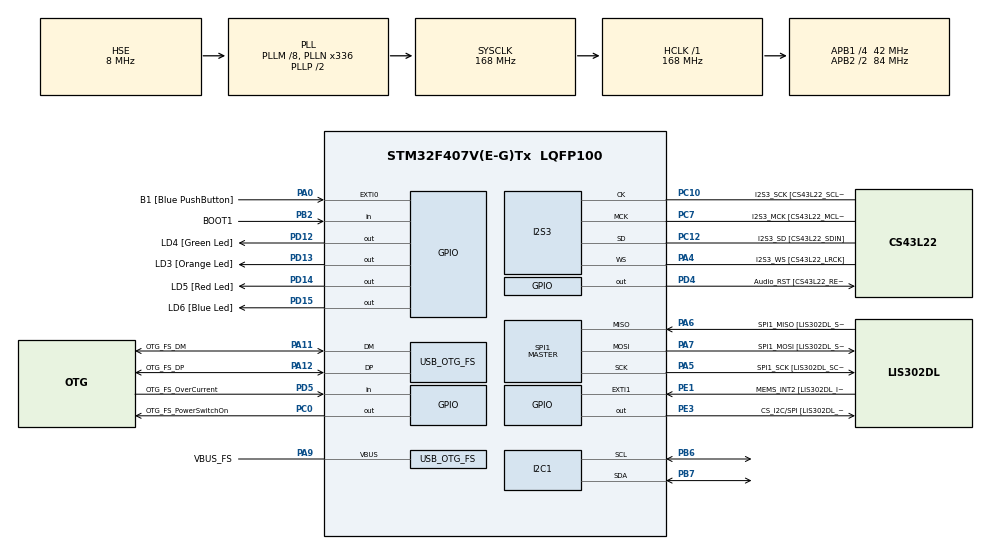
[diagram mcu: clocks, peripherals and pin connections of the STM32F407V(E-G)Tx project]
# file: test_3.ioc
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I2S3.AudioFreq-Half_Duplex_Master=I2S_AUDIOFREQ_96K
I2S3.ErrorAudioFreq=-2.34 %
I2S3.ErrorAudioFreq-Half_Duplex_Master=0.8 %
I2S3.FullDuplexMode=I2S_FULLDUPLEXMODE_DISABLE
I2S3.Instance=SPI$Index
I2S3.RealAudioFreq=93.75 KHz
I2S3.RealAudioFreq-Half_Duplex_Master=96.774 KHz
I2S3.VirtualMode=I2S_MODE_MASTER
Mcu.Family=STM32F4
Mcu.Name=STM32F407V(E-G)Tx
Mcu.Package=LQFP100
NVIC.OTG_FS_IRQn=true\:0\:0\:false\:false\:true\:true
NVIC.PriorityGroup=NVIC_PRIORITYGROUP_0
PA0-WKUP.GPIO_Label=B1 [Blue PushButton]
PA0-WKUP.GPIO_ModeDefaultEXTI=GPIO_MODE_EVT_RISING
PA0-WKUP.GPIO_PuPd=GPIO_NOPULL
PA0-WKUP.Signal=GPXTI0
PA10.GPIO_Label=OTG_FS_ID
PA10.GPIO_Mode=GPIO_MODE_AF_PP
PA10.GPIO_PuPd=GPIO_NOPULL
PA10.GPIO_Speed=GPIO_SPEED_FREQ_LOW
PA10.Signal=USB_OTG_FS_ID
PA11.GPIO_Label=OTG_FS_DM
PA11.GPIO_Mode=GPIO_MODE_AF_PP
PA11.GPIO_PuPd=GPIO_NOPULL
PA11.GPIO_Speed=GPIO_SPEED_FREQ_LOW
PA11.Mode=Device_Only
PA11.Signal=USB_OTG_FS_DM
PA12.GPIO_Label=OTG_FS_DP
PA12.GPIO_Mode=GPIO_MODE_AF_PP
PA12.GPIO_PuPd=GPIO_NOPULL
PA12.GPIO_Speed=GPIO_SPEED_FREQ_LOW
PA12.Mode=Device_Only
PA12.Signal=USB_OTG_FS_DP
PA13.GPIO_Label=SWDIO
PA13.Mode=Serial_Wire
PA13.Signal=SYS_JTMS-SWDIO
PA14.GPIO_Label=SWCLK
PA14.Mode=Serial_Wire
PA14.Signal=SYS_JTCK-SWCLK
PA4.GPIO_Label=I2S3_WS [CS43L22_LRCK]
PA4.GPIO_Mode=GPIO_MODE_AF_PP
PA4.GPIO_PuPd=GPIO_NOPULL
PA4.GPIO_Speed=GPIO_SPEED_FREQ_LOW
PA4.Mode=Half_Duplex_Master
PA4.Signal=I2S3_WS
PA5.GPIO_Label=SPI1_SCK [LIS302DL_SCL/SPC]
PA5.GPIO_Mode=GPIO_MODE_AF_PP
PA5.GPIO_PuPd=GPIO_NOPULL
PA5.GPIO_Speed=GPIO_SPEED_FREQ_LOW
PA5.Mode=Full_Duplex_Master
PA5.Signal=SPI1_SCK
PA6.GPIO_Label=SPI1_MISO [LIS302DL_SDO]
PA6.GPIO_Mode=GPIO_MODE_AF_PP
PA6.GPIO_PuPd=GPIO_NOPULL
PA6.GPIO_Speed=GPIO_SPEED_FREQ_LOW
PA6.Mode=Full_Duplex_Master
PA6.Signal=SPI1_MISO
PA7.GPIO_Label=SPI1_MOSI [LIS302DL_SDA/SDI/SDO]
PA7.GPIO_Mode=GPIO_MODE_AF_PP
PA7.GPIO_PuPd=GPIO_NOPULL
PA7.GPIO_Speed=GPIO_SPEED_FREQ_LOW
PA7.Mode=Full_Duplex_Master
PA7.Signal=SPI1_MOSI
PA9.GPIO_Label=VBUS_FS
PA9.GPIO_Mode=GPIO_MODE_INPUT
PA9.GPIO_PuPd=GPIO_NOPULL
PA9.Mode=Activate_VBUS
PA9.Signal=USB_OTG_FS_VBUS
PB10.GPIO_Label=CLK_IN [MP45DT02_CLK]
PB10.GPIO_Mode=GPIO_MODE_AF_PP
PB10.GPIO_PuPd=GPIO_NOPULL
PB10.GPIO_Speed=GPIO_SPEED_FREQ_LOW
PB10.Signal=I2S2_CK
PB2.GPIO_Label=BOOT1
PB2.GPIO_Mode=GPIO_MODE_INPUT
PB2.GPIO_PuPd=GPIO_NOPULL
PB2.Signal=GPIO_Input
PB3.GPIO_Label=SWO
PB3.Signal=SYS_JTDO-SWO
PB6.Mode=I2C
PB6.Signal=I2C1_SCL
PB7.Mode=I2C
PB7.Signal=I2C1_SDA
PC0.GPIO_Label=OTG_FS_PowerSwitchOn
PC0.GPIO_PuPd=GPIO_NOPULL
PC0.GPIO_Speed=GPIO_SPEED_FREQ_LOW
PC0.PinState=GPIO_PIN_SET
PC0.Signal=GPIO_Output
PC10.GPIO_Label=I2S3_SCK [CS43L22_SCLK]
PC10.GPIO_Mode=GPIO_MODE_AF_PP
PC10.GPIO_PuPd=GPIO_NOPULL
PC10.GPIO_Speed=GPIO_SPEED_FREQ_LOW
PC10.Mode=Half_Duplex_Master
PC10.Signal=I2S3_CK
PC12.GPIO_Label=I2S3_SD [CS43L22_SDIN]
PC12.GPIO_Mode=GPIO_MODE_AF_PP
PC12.GPIO_PuPd=GPIO_NOPULL
PC12.GPIO_Speed=GPIO_SPEED_FREQ_LOW
PC12.Mode=Half_Duplex_Master
PC12.Signal=I2S3_SD
PC14-OSC32_IN.GPIO_Label=PC14-OSC32_IN
PC14-OSC32_IN.Mode=LSE-External-Oscillator
PC14-OSC32_IN.Signal=RCC_OSC32_IN
PC15-OSC32_OUT.GPIO_Label=PC15-OSC32_OUT
PC15-OSC32_OUT.Mode=LSE-External-Oscillator
PC15-OSC32_OUT.Signal=RCC_OSC32_OUT
PC3.GPIO_Label=PDM_OUT [MP45DT02_DOUT]
PC3.GPIO_Mode=GPIO_MODE_AF_PP
PC3.GPIO_PuPd=GPIO_NOPULL
PC3.GPIO_Speed=GPIO_SPEED_FREQ_LOW
PC3.Signal=I2S2_SD
PC7.GPIO_Label=I2S3_MCK [CS43L22_MCLK]
PC7.GPIO_Mode=GPIO_MODE_AF_PP
PC7.GPIO_PuPd=GPIO_NOPULL
PC7.GPIO_Speed=GPIO_SPEED_FREQ_LOW
PC7.Mode=Master_Clock_Activated
PC7.Signal=I2S3_MCK
PD12.GPIO_Label=LD4 [Green Led]
PD12.GPIO_PuPd=GPIO_NOPULL
PD12.GPIO_Speed=GPIO_SPEED_FREQ_LOW
PD12.Signal=GPIO_Output
PD13.GPIO_Label=LD3 [Orange Led]
PD13.GPIO_PuPd=GPIO_NOPULL
PD13.GPIO_Speed=GPIO_SPEED_FREQ_LOW
PD13.Signal=GPIO_Output
PD14.GPIO_Label=LD5 [Red Led]
PD14.GPIO_PuPd=GPIO_NOPULL
PD14.GPIO_Speed=GPIO_SPEED_FREQ_LOW
PD14.Signal=GPIO_Output
PD15.GPIO_Label=LD6 [Blue Led]
PD15.GPIO_PuPd=GPIO_NOPULL
PD15.GPIO_Speed=GPIO_SPEED_FREQ_LOW
PD15.Signal=GPIO_Output
PD4.GPIO_Label=Audio_RST [CS43L22_RESET]
PD4.GPIO_PuPd=GPIO_NOPULL
PD4.GPIO_Speed=GPIO_SPEED_FREQ_LOW
PD4.Signal=GPIO_Output
PD5.GPIO_Label=OTG_FS_OverCurrent
PD5.GPIO_Mode=GPIO_MODE_INPUT
PD5.GPIO_PuPd=GPIO_NOPULL
PD5.Signal=GPIO_Input
PE1.GPIO_Label=MEMS_INT2 [LIS302DL_INT2]
PE1.GPIO_ModeDefaultEXTI=GPIO_MODE_EVT_RISING
PE1.GPIO_PuPd=GPIO_NOPULL
PE1.Signal=GPXTI1
PE3.GPIO_Label=CS_I2C/SPI [LIS302DL_CS_I2C/SPI]
PE3.GPIO_PuPd=GPIO_NOPULL
PE3.GPIO_Speed=GPIO_SPEED_FREQ_LOW
PE3.Signal=GPIO_Output
PH0-OSC_IN.GPIO_Label=PH0-OSC_IN
PH0-OSC_IN.Mode=HSE-External-Oscillator
PH0-OSC_IN.Signal=RCC_OSC_IN
PH1-OSC_OUT.GPIO_Label=PH1-OSC_OUT
PH1-OSC_OUT.Mode=HSE-External-Oscillator
PH1-OSC_OUT.Signal=RCC_OSC_OUT
ProjectManager.HeapSize=0x200
ProjectManager.StackSize=0x400
ProjectManager.TargetToolchain=TrueSTUDIO
RCC.48MHZClocksFreq_Value=48000000
RCC.AHBFreq_Value=168000000
RCC.APB1CLKDivider=RCC_HCLK_DIV4
RCC.APB1Freq_Value=42000000
RCC.APB1TimFreq_Value=84000000
RCC.APB2CLKDivider=RCC_HCLK_DIV2
RCC.APB2Freq_Value=84000000
RCC.APB2TimFreq_Value=168000000
RCC.CortexFreq_Value=168000000
RCC.HCLKFreq_Value=168000000
RCC.HSE_VALUE=8000000
RCC.HSI_VALUE=16000000
RCC.PLLM=8
RCC.PLLN=336
RCC.PLLQ=7
RCC.SYSCLKFreq_VALUE=168000000
RCC.SYSCLKSource=RCC_SYSCLKSOURCE_PLLCLK
RCC.VCOOutputFreq_Value=336000000
SPI1.BaudRatePrescaler-Full_Duplex_Master=SPI_BAUDRATEPRESCALER_2
SPI1.CalculateBaudRate-Full_Duplex_Master=42.0 MBits/s
SPI1.Direction=SPI_DIRECTION_2LINES
SPI1.Mode=SPI_MODE_MASTER
SPI1.Mode-Full_Duplex_Master=SPI_MODE_MASTER
SPI1.VirtualType=VM_MASTER
USB_DEVICE.CLASS_NAME_FS=CDC
USB_DEVICE.VirtualMode-CDC_FS=Cdc
USB_DEVICE.VirtualModeFS=Cdc_FS
USB_OTG_FS.VirtualMode=Device_Only
VP_USB_DEVICE_VS_USB_DEVICE_CDC_FS.Mode=CDC_FS
board=STM32F4DISCOVERY

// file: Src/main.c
/* USER CODE BEGIN Header */
/**
  ******************************************************************************
  * @file           : main.c
  * @brief          : Main program body
  ******************************************************************************
  * This notice applies to any and all portions of this file
  * that are not between comment pairs USER CODE BEGIN and
  * USER CODE END. Other portions of this file, whether
  * inserted by the user or by software development tools
  * are owned by their respective copyright owners.
  *
  * Copyright (c) 2018 STMicroelectronics International N.V.
  * All rights reserved.
  *
  * Redistribution and use in source and binary forms, with or without
  * modification, are permitted, provided that the following conditions are met:
  *
  * 1. Redistribution of source code must retain the above copyright notice,
  *    this list of conditions and the following disclaimer.
  * 2. Redistributions in binary form must reproduce the above copyright notice,
  *    this list of conditions and the following disclaimer in the documentation
  *    and/or other materials provided with the distribution.
  * 3. Neither the name of STMicroelectronics nor the names of other
  *    contributors to this software may be used to endorse or promote products
  *    derived from this software without specific written permission.
  * 4. This software, including modifications and/or derivative works of this
  *    software, must execute solely and exclusively on microcontroller or
  *    microprocessor devices manufactured by or for STMicroelectronics.
  * 5. Redistribution and use of this software other than as permitted under
  *    this license is void and will automatically terminate your rights under
  *    this license.
  *
  * THIS SOFTWARE IS PROVIDED BY STMICROELECTRONICS AND CONTRIBUTORS "AS IS"
  * AND ANY EXPRESS, IMPLIED OR STATUTORY WARRANTIES, INCLUDING, BUT NOT
  * LIMITED TO, THE IMPLIED WARRANTIES OF MERCHANTABILITY, FITNESS FOR A
  * PARTICULAR PURPOSE AND NON-INFRINGEMENT OF THIRD PARTY INTELLECTUAL PROPERTY
  * RIGHTS ARE DISCLAIMED TO THE FULLEST EXTENT PERMITTED BY LAW. IN NO EVENT
  * SHALL STMICROELECTRONICS OR CONTRIBUTORS BE LIABLE FOR ANY DIRECT, INDIRECT,
  * INCIDENTAL, SPECIAL, EXEMPLARY, OR CONSEQUENTIAL DAMAGES (INCLUDING, BUT NOT
  * LIMITED TO, PROCUREMENT OF SUBSTITUTE GOODS OR SERVICES; LOSS OF USE, DATA,
  * OR PROFITS; OR BUSINESS INTERRUPTION) HOWEVER CAUSED AND ON ANY THEORY OF
  * LIABILITY, WHETHER IN CONTRACT, STRICT LIABILITY, OR TORT (INCLUDING
  * NEGLIGENCE OR OTHERWISE) ARISING IN ANY WAY OUT OF THE USE OF THIS SOFTWARE,
  * EVEN IF ADVISED OF THE POSSIBILITY OF SUCH DAMAGE.
  *
  ******************************************************************************
  */
/* USER CODE END Header */

#include "main.h"
#include "usb_device.h"

I2C_HandleTypeDef hi2c1;

I2S_HandleTypeDef hi2s3;

SPI_HandleTypeDef hspi1;

void SystemClock_Config(void);
static void MX_GPIO_Init(void);
static void MX_I2S3_Init(void);
static void MX_SPI1_Init(void);
static void MX_I2C1_Init(void);

int main(void)
{

  /* MCU Configuration--------------------------------------------------------*/

  /* Reset of all peripherals, Initializes the Flash interface and the Systick. */
  HAL_Init();

  /* Configure the system clock */
  SystemClock_Config();

  /* Initialize all configured peripherals */
  MX_GPIO_Init();
  MX_I2S3_Init();
  MX_SPI1_Init();
  MX_USB_DEVICE_Init();
  MX_I2C1_Init();
  /* USER CODE BEGIN 2 */
  uint32_t Len = 50;
  char Buf[Len];
  uint8_t cnt = 0;
  uint16_t temp;
  uint8_t temp6[6];
  float temp_f1, temp_f2, rh1, rh2, rh3;
  int16_t temp_s;
  uint16_t dis_ret;
  uint8_t ret1, ret2;
  uint8_t meas_command[2] = {0x22, 0x20};

  for (int i = 0; i < Len; i++)
	  Buf[i] = 0;

  HAL_I2C_Master_Transmit(&hi2c1, 0x8A, meas_command, 2, 200);
  /* USER CODE END 2 */

  /* Infinite loop */
  /* USER CODE BEGIN WHILE */
  while (1)
  {
	  HAL_Delay(500);
	  //CDC_Receive_FS(Buf, Len);
	  //cnt++;
	  /*if(((ret1 = HAL_I2C_IsDeviceReady(&hi2c1, 0x9E, 10, 200)) != 0) || ((ret2 = HAL_I2C_IsDeviceReady(&hi2c1, 0x9A, 10, 200) != 0)))
	  {
		  sprintf(Buf,"1rdy=%d 2rdy=%d \r", ret1, ret2);
		  CDC_Transmit_FS(Buf, Len);
	  }
	  else
	  {
		  HAL_I2C_Master_Receive(&hi2c1, 0x9E, (uint8_t *)&temp, 2, 200);
		  temp_s = ((temp & 0xFF00) >> 8) + ((temp & 0x00FF) << 8);
		  temp_f1 = temp_s/256.0;
		  HAL_I2C_Master_Receive(&hi2c1, 0x9A, (uint8_t *)&temp, 2, 200);
		  temp_s = ((temp & 0xFF00) >> 8) + ((temp & 0x00FF) << 8);
		  temp_f2 = temp_s/256.0;
		  sprintf(Buf,"ARM, cnt=%u tmp1=%3.2f tmp2=%3.2f  \r", cnt++, temp_f1, temp_f2);
		  if (cnt == 10) cnt = 0;
		  CDC_Transmit_FS(Buf, Len);
	  }*/

	  /*if(((ret1 = HAL_I2C_IsDeviceReady(&hi2c1, 0x9E, 10, 200)) != 0) || ((ret2 = HAL_I2C_IsDeviceReady(&hi2c1, 0x9A, 10, 200) != 0)))
	  {
		  sprintf(Buf,"1rdy=%d 2rdy=%d \r", ret1, ret2);
		  CDC_Transmit_FS(Buf, Len);
	  }
	  else*/
	  {
		  /*HAL_I2C_Master_Receive(&hi2c1, 0x9E, (uint8_t *)&temp, 2, 200);
		  temp_s = ((temp & 0xFF00) >> 8) + ((temp & 0x00FF) << 8);
		  temp_f1 = temp_s/256.0;*/
		  HAL_I2C_Master_Receive(&hi2c1, 0x8A, temp6, 6, 200);
		  dis_ret = (((uint16_t)temp6[0])<<8) + temp6[1];
		  temp_f1 = 175.0 * dis_ret / 65535.0 - 45;
		  sprintf(Buf, "%02x %02x %02x %02x %02x %02x  temp=%04x\n", temp6[0], temp6[1], temp6[2], temp6[3], temp6[4], temp6[5], temp_s);
		  HAL_Delay(500);
		  CDC_Transmit_FS(Buf, Len);
		  dis_ret = (((uint16_t)temp6[3])<<8) + temp6[4];
		  temp_f2 = 100.0 * dis_ret / 65535.0;
		  sprintf(Buf,"ARM, cnt=%u tmp1=%3.2f tmp2=%3.2f  \r", cnt++, temp_f1, temp_f2);
		  if (cnt == 10) cnt = 0;
		  CDC_Transmit_FS(Buf, Len);
	  }

    /* USER CODE END WHILE */

  }
}

void SystemClock_Config(void)
{
  RCC_OscInitTypeDef RCC_OscInitStruct = {0};
  RCC_ClkInitTypeDef RCC_ClkInitStruct = {0};
  RCC_PeriphCLKInitTypeDef PeriphClkInitStruct = {0};

  /**Configure the main internal regulator output voltage
  */
  __HAL_RCC_PWR_CLK_ENABLE();
  __HAL_PWR_VOLTAGESCALING_CONFIG(PWR_REGULATOR_VOLTAGE_SCALE1);
  /**Initializes the CPU, AHB and APB busses clocks
  */
  RCC_OscInitStruct.OscillatorType = RCC_OSCILLATORTYPE_HSE;
  RCC_OscInitStruct.HSEState = RCC_HSE_ON;
  RCC_OscInitStruct.PLL.PLLState = RCC_PLL_ON;
  RCC_OscInitStruct.PLL.PLLSource = RCC_PLLSOURCE_HSE;
  RCC_OscInitStruct.PLL.PLLM = 8;
  RCC_OscInitStruct.PLL.PLLN = 336;
  RCC_OscInitStruct.PLL.PLLP = RCC_PLLP_DIV2;
  RCC_OscInitStruct.PLL.PLLQ = 7;
  if (HAL_RCC_OscConfig(&RCC_OscInitStruct) != HAL_OK)
  {
    Error_Handler();
  }
  /**Initializes the CPU, AHB and APB busses clocks
  */
  RCC_ClkInitStruct.ClockType = RCC_CLOCKTYPE_HCLK|RCC_CLOCKTYPE_SYSCLK
                              |RCC_CLOCKTYPE_PCLK1|RCC_CLOCKTYPE_PCLK2;
  RCC_ClkInitStruct.SYSCLKSource = RCC_SYSCLKSOURCE_PLLCLK;
  RCC_ClkInitStruct.AHBCLKDivider = RCC_SYSCLK_DIV1;
  RCC_ClkInitStruct.APB1CLKDivider = RCC_HCLK_DIV4;
  RCC_ClkInitStruct.APB2CLKDivider = RCC_HCLK_DIV2;

  if (HAL_RCC_ClockConfig(&RCC_ClkInitStruct, FLASH_LATENCY_5) != HAL_OK)
  {
    Error_Handler();
  }
  PeriphClkInitStruct.PeriphClockSelection = RCC_PERIPHCLK_I2S;
  PeriphClkInitStruct.PLLI2S.PLLI2SN = 192;
  PeriphClkInitStruct.PLLI2S.PLLI2SR = 2;
  if (HAL_RCCEx_PeriphCLKConfig(&PeriphClkInitStruct) != HAL_OK)
  {
    Error_Handler();
  }
}

static void MX_I2C1_Init(void)
{

  hi2c1.Instance = I2C1;
  hi2c1.Init.ClockSpeed = 100000;
  hi2c1.Init.DutyCycle = I2C_DUTYCYCLE_2;
  hi2c1.Init.OwnAddress1 = 0;
  hi2c1.Init.AddressingMode = I2C_ADDRESSINGMODE_7BIT;
  hi2c1.Init.DualAddressMode = I2C_DUALADDRESS_DISABLE;
  hi2c1.Init.OwnAddress2 = 0;
  hi2c1.Init.GeneralCallMode = I2C_GENERALCALL_DISABLE;
  hi2c1.Init.NoStretchMode = I2C_NOSTRETCH_DISABLE;
  if (HAL_I2C_Init(&hi2c1) != HAL_OK)
  {
    Error_Handler();
  }

}

static void MX_I2S3_Init(void)
{

  hi2s3.Instance = SPI3;
  hi2s3.Init.Mode = I2S_MODE_MASTER_TX;
  hi2s3.Init.Standard = I2S_STANDARD_PHILIPS;
  hi2s3.Init.DataFormat = I2S_DATAFORMAT_16B;
  hi2s3.Init.MCLKOutput = I2S_MCLKOUTPUT_ENABLE;
  hi2s3.Init.AudioFreq = I2S_AUDIOFREQ_96K;
  hi2s3.Init.CPOL = I2S_CPOL_LOW;
  hi2s3.Init.ClockSource = I2S_CLOCK_PLL;
  hi2s3.Init.FullDuplexMode = I2S_FULLDUPLEXMODE_DISABLE;
  if (HAL_I2S_Init(&hi2s3) != HAL_OK)
  {
    Error_Handler();
  }

}

static void MX_SPI1_Init(void)
{

  /* SPI1 parameter configuration*/
  hspi1.Instance = SPI1;
  hspi1.Init.Mode = SPI_MODE_MASTER;
  hspi1.Init.Direction = SPI_DIRECTION_2LINES;
  hspi1.Init.DataSize = SPI_DATASIZE_8BIT;
  hspi1.Init.CLKPolarity = SPI_POLARITY_LOW;
  hspi1.Init.CLKPhase = SPI_PHASE_1EDGE;
  hspi1.Init.NSS = SPI_NSS_SOFT;
  hspi1.Init.BaudRatePrescaler = SPI_BAUDRATEPRESCALER_2;
  hspi1.Init.FirstBit = SPI_FIRSTBIT_MSB;
  hspi1.Init.TIMode = SPI_TIMODE_DISABLE;
  hspi1.Init.CRCCalculation = SPI_CRCCALCULATION_DISABLE;
  hspi1.Init.CRCPolynomial = 10;
  if (HAL_SPI_Init(&hspi1) != HAL_OK)
  {
    Error_Handler();
  }

}

static void MX_GPIO_Init(void)
{
  GPIO_InitTypeDef GPIO_InitStruct = {0};

  /* GPIO Ports Clock Enable */
  __HAL_RCC_GPIOE_CLK_ENABLE();
  __HAL_RCC_GPIOC_CLK_ENABLE();
  __HAL_RCC_GPIOH_CLK_ENABLE();
  __HAL_RCC_GPIOA_CLK_ENABLE();
  __HAL_RCC_GPIOB_CLK_ENABLE();
  __HAL_RCC_GPIOD_CLK_ENABLE();

  /*Configure GPIO pin Output Level */
  HAL_GPIO_WritePin(CS_I2C_SPI_GPIO_Port, CS_I2C_SPI_Pin, GPIO_PIN_RESET);

  /*Configure GPIO pin Output Level */
  HAL_GPIO_WritePin(OTG_FS_PowerSwitchOn_GPIO_Port, OTG_FS_PowerSwitchOn_Pin, GPIO_PIN_SET);

  /*Configure GPIO pin Output Level */
  HAL_GPIO_WritePin(GPIOD, LD4_Pin|LD3_Pin|LD5_Pin|LD6_Pin
                          |Audio_RST_Pin, GPIO_PIN_RESET);

  /*Configure GPIO pin : CS_I2C_SPI_Pin */
  GPIO_InitStruct.Pin = CS_I2C_SPI_Pin;
  GPIO_InitStruct.Mode = GPIO_MODE_OUTPUT_PP;
  GPIO_InitStruct.Pull = GPIO_NOPULL;
  GPIO_InitStruct.Speed = GPIO_SPEED_FREQ_LOW;
  HAL_GPIO_Init(CS_I2C_SPI_GPIO_Port, &GPIO_InitStruct);

  /*Configure GPIO pin : OTG_FS_PowerSwitchOn_Pin */
  GPIO_InitStruct.Pin = OTG_FS_PowerSwitchOn_Pin;
  GPIO_InitStruct.Mode = GPIO_MODE_OUTPUT_PP;
  GPIO_InitStruct.Pull = GPIO_NOPULL;
  GPIO_InitStruct.Speed = GPIO_SPEED_FREQ_LOW;
  HAL_GPIO_Init(OTG_FS_PowerSwitchOn_GPIO_Port, &GPIO_InitStruct);

  /*Configure GPIO pin : PDM_OUT_Pin */
  GPIO_InitStruct.Pin = PDM_OUT_Pin;
  GPIO_InitStruct.Mode = GPIO_MODE_AF_PP;
  GPIO_InitStruct.Pull = GPIO_NOPULL;
  GPIO_InitStruct.Speed = GPIO_SPEED_FREQ_LOW;
  GPIO_InitStruct.Alternate = GPIO_AF5_SPI2;
  HAL_GPIO_Init(PDM_OUT_GPIO_Port, &GPIO_InitStruct);

  /*Configure GPIO pin : B1_Pin */
  GPIO_InitStruct.Pin = B1_Pin;
  GPIO_InitStruct.Mode = GPIO_MODE_EVT_RISING;
  GPIO_InitStruct.Pull = GPIO_NOPULL;
  HAL_GPIO_Init(B1_GPIO_Port, &GPIO_InitStruct);

  /*Configure GPIO pin : BOOT1_Pin */
  GPIO_InitStruct.Pin = BOOT1_Pin;
  GPIO_InitStruct.Mode = GPIO_MODE_INPUT;
  GPIO_InitStruct.Pull = GPIO_NOPULL;
  HAL_GPIO_Init(BOOT1_GPIO_Port, &GPIO_InitStruct);

  /*Configure GPIO pin : CLK_IN_Pin */
  GPIO_InitStruct.Pin = CLK_IN_Pin;
  GPIO_InitStruct.Mode = GPIO_MODE_AF_PP;
  GPIO_InitStruct.Pull = GPIO_NOPULL;
  GPIO_InitStruct.Speed = GPIO_SPEED_FREQ_LOW;
  GPIO_InitStruct.Alternate = GPIO_AF5_SPI2;
  HAL_GPIO_Init(CLK_IN_GPIO_Port, &GPIO_InitStruct);

  /*Configure GPIO pins : LD4_Pin LD3_Pin LD5_Pin LD6_Pin
                           Audio_RST_Pin */
  GPIO_InitStruct.Pin = LD4_Pin|LD3_Pin|LD5_Pin|LD6_Pin
                          |Audio_RST_Pin;
  GPIO_InitStruct.Mode = GPIO_MODE_OUTPUT_PP;
  GPIO_InitStruct.Pull = GPIO_NOPULL;
  GPIO_InitStruct.Speed = GPIO_SPEED_FREQ_LOW;
  HAL_GPIO_Init(GPIOD, &GPIO_InitStruct);

  /*Configure GPIO pin : OTG_FS_OverCurrent_Pin */
  GPIO_InitStruct.Pin = OTG_FS_OverCurrent_Pin;
  GPIO_InitStruct.Mode = GPIO_MODE_INPUT;
  GPIO_InitStruct.Pull = GPIO_NOPULL;
  HAL_GPIO_Init(OTG_FS_OverCurrent_GPIO_Port, &GPIO_InitStruct);

  /*Configure GPIO pin : MEMS_INT2_Pin */
  GPIO_InitStruct.Pin = MEMS_INT2_Pin;
  GPIO_InitStruct.Mode = GPIO_MODE_EVT_RISING;
  GPIO_InitStruct.Pull = GPIO_NOPULL;
  HAL_GPIO_Init(MEMS_INT2_GPIO_Port, &GPIO_InitStruct);

}

void Error_Handler(void)
{
}

/************************ (C) COPYRIGHT STMicroelectronics *****END OF FILE****/
